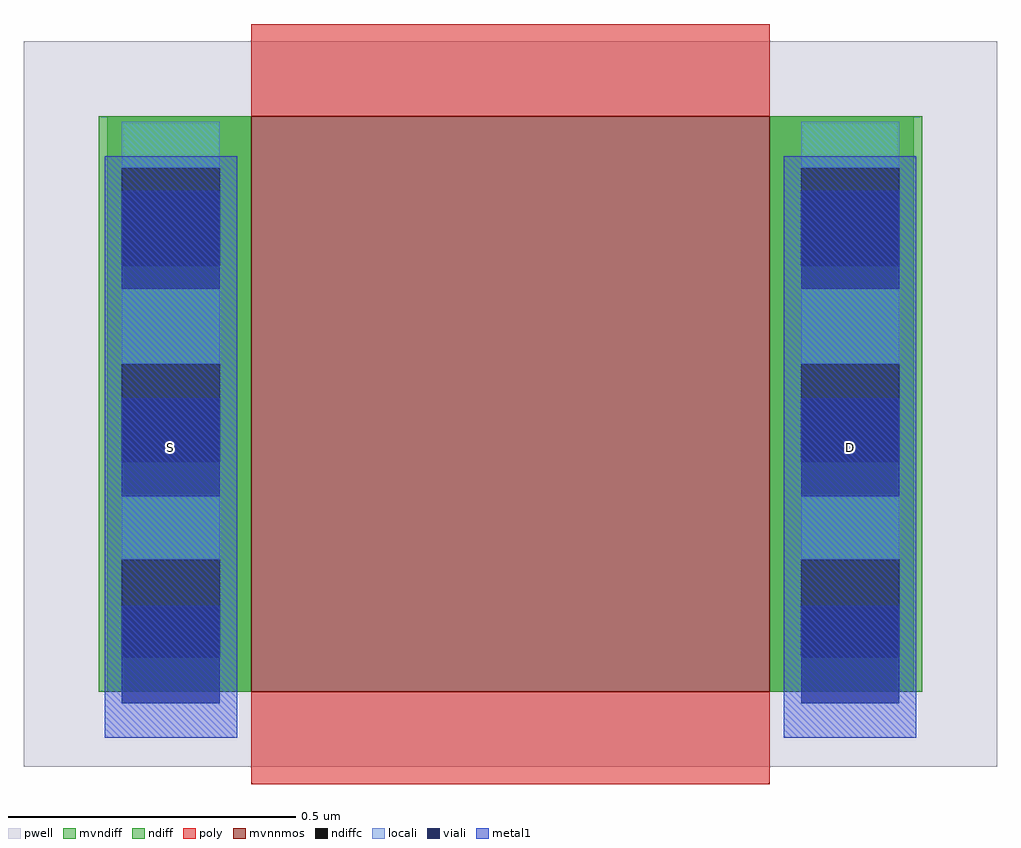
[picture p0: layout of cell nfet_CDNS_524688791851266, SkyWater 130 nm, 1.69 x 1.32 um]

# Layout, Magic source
magic
tech sky130B
magscale 1 2
<< pwell >>
rect -76 -26 256 226
<< mvnnmos >>
rect 0 0 180 200
<< mvndiff >>
rect -50 0 0 200
rect 180 0 230 200
<< poly >>
rect 0 200 180 232
rect 0 -32 180 0
<< metal1 >>
rect -51 -16 -5 186
rect 185 -16 231 186
use DFM1sd_CDNS_52468879185186  DFM1sd_CDNS_52468879185186_0
transform -1 0 0 0 1 0
box -26 -26 79 226
use DFM1sd_CDNS_52468879185186  DFM1sd_CDNS_52468879185186_1
transform 1 0 180 0 1 0
box -26 -26 79 226
<< labels >>
flabel comment s -28 85 -28 85 0 FreeSans 300 0 0 0 S
flabel comment s 208 85 208 85 0 FreeSans 300 0 0 0 D
<< properties >>
string GDS_END 86614726
string GDS_FILE $PDKPATH/libs.ref/sky130_fd_io/gds/sky130_fd_io.gds
string GDS_START 86613776
<< end >>

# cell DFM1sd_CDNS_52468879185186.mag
magic
tech sky130B
magscale 1 2
<< pwell >>
rect -26 -26 79 226
<< ndiff >>
rect 0 182 53 200
rect 0 148 11 182
rect 45 148 53 182
rect 0 114 53 148
rect 0 80 11 114
rect 45 80 53 114
rect 0 46 53 80
rect 0 12 11 46
rect 45 12 53 46
rect 0 0 53 12
<< ndiffc >>
rect 11 148 45 182
rect 11 80 45 114
rect 11 12 45 46
<< locali >>
rect 11 182 45 198
rect 11 114 45 140
rect 11 46 45 68
<< viali >>
rect 11 148 45 174
rect 11 140 45 148
rect 11 80 45 102
rect 11 68 45 80
rect 11 12 45 30
rect 11 -4 45 12
<< metal1 >>
rect 5 174 51 186
rect 5 140 11 174
rect 45 140 51 174
rect 5 102 51 140
rect 5 68 11 102
rect 45 68 51 102
rect 5 30 51 68
rect 5 -4 11 30
rect 45 -4 51 30
rect 5 -16 51 -4
<< properties >>
string GDS_END 85975568
string GDS_FILE $PDKPATH/libs.ref/sky130_fd_io/gds/sky130_fd_io.gds
string GDS_START 85974924
<< end >>
